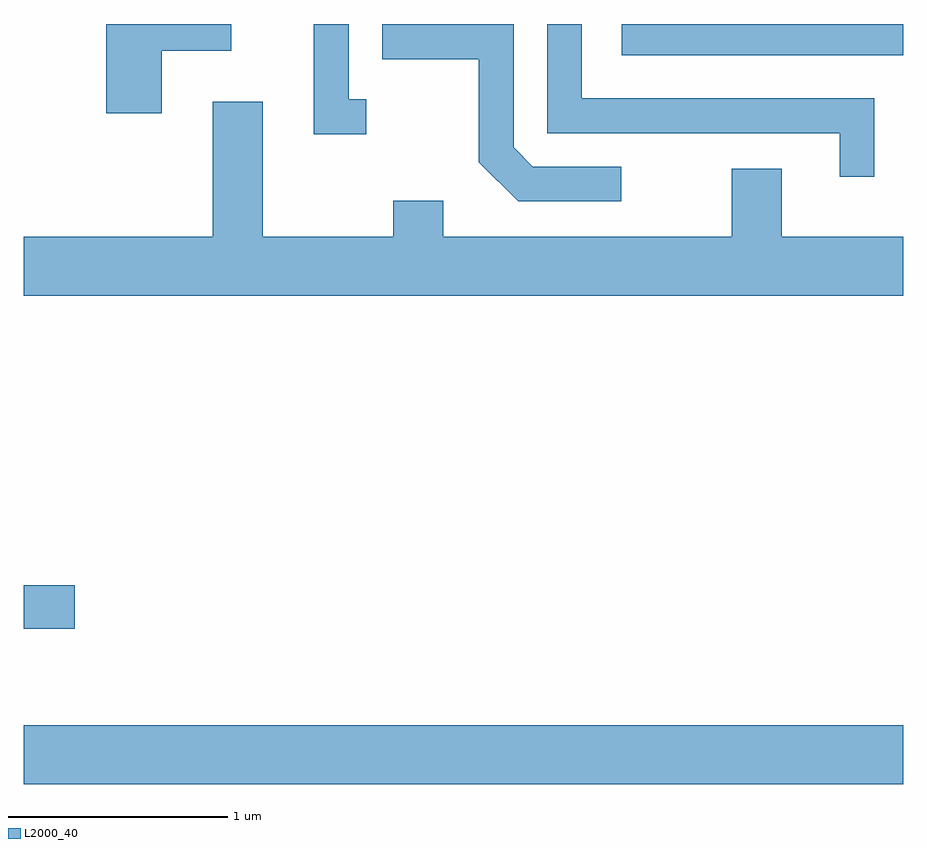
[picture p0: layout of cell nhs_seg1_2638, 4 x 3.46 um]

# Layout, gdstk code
import gdstk
lib = gdstk.Library(unit=1e-6, precision=1e-09)
def R(c, l, rs):  # rectangles x0, y0, x1, y1
    for r in rs: c.add(gdstk.rectangle(r[:2], r[2:], *l))
def P(c, l, *ps):  # polygons
    for p in ps: c.add(gdstk.Polygon(p, *l))
L2000_40 = (2000, 40)

nhs_seg1_2638 = lib.new_cell('nhs_seg1_2638')
R(nhs_seg1_2638, L2000_40, [(265.611,886.256,269.611,886.524), (265.611,886.961,265.844,887.159), (268.331,889.571,269.611,889.712)])
P(nhs_seg1_2638, L2000_40, [(268.328,889.064),(267.927,889.064),(267.839,889.152),(267.839,889.712),(267.241,889.712),(267.241,889.551),(267.681,889.551),(267.681,889.084),(267.859,888.906),(268.328,888.906)],
  [(267.168,889.369),(267.089,889.369),(267.089,889.712),(266.931,889.712),(266.931,889.211),(267.168,889.211)],
  [(269.479,889.374),(268.149,889.374),(268.149,889.712),(267.991,889.712),(267.991,889.216),(269.321,889.216),(269.321,889.018),(269.479,889.018)],
  [(266.239,889.591),(266.554,889.591),(266.554,889.712),(265.986,889.712),(265.986,889.306),(266.239,889.306)],
  [(269.611,888.744),(269.059,888.744),(269.059,889.054),(268.831,889.054),(268.831,888.744),(267.519,888.744),(267.519,888.909),(267.291,888.909),(267.291,888.744),(266.699,888.744),(266.699,889.359),(266.471,889.359),(266.471,888.744),(265.611,888.744),(265.611,888.476),(269.611,888.476)])

lib.write_gds('nhs_seg1_2638.gds')
